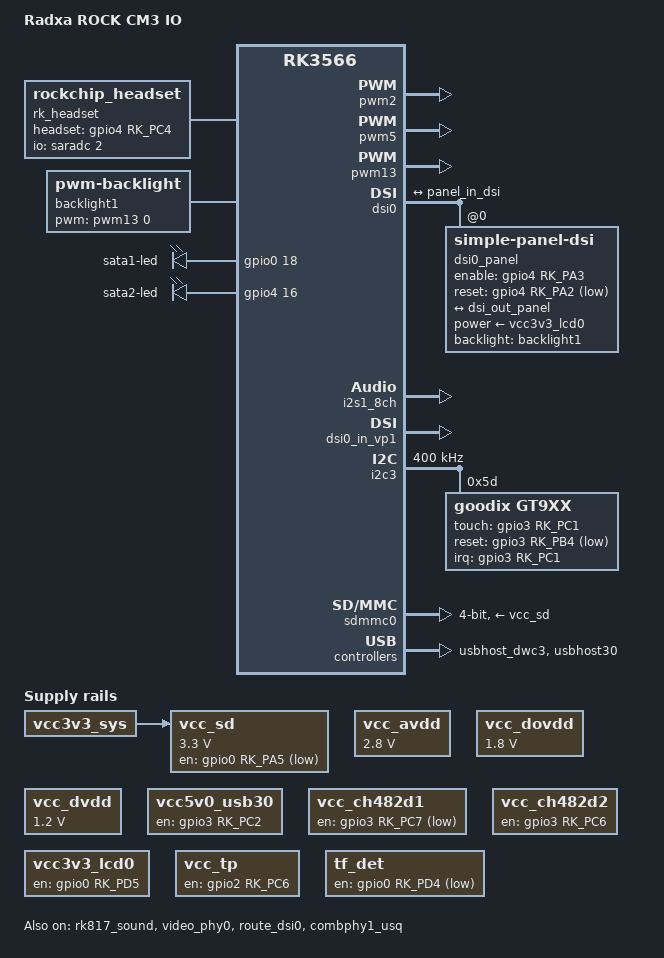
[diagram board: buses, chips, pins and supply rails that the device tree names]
// SPDX-License-Identifier: (GPL-2.0+ OR MIT)
/*
 * Copyright (c) 2020 Rockchip Electronics Co., Ltd.
 * Copyright (c) 2021 Radxa Limited.
 *
 */

/dts-v1/;

#include "rk3566-rock-compute-module-3.dtsi"
#include <dt-bindings/display/drm_mipi_dsi.h>
#include <dt-bindings/display/media-bus-format.h>

/ {
	model = "Radxa ROCK CM3 IO";
	compatible = "radxa,rock-cm3-io", "rockchip,rk3566";

	rk_headset: rk-headset {
		compatible = "rockchip_headset";
		headset_gpio = <&gpio4 RK_PC4 GPIO_ACTIVE_HIGH>;
		pinctrl-names = "default";
		pinctrl-0 = <&hp_det>;
		io-channels = <&saradc 2>;    //HP_HOOK引脚
	};

	vcc_avdd: vcc-avdd {
		compatible = "regulator-fixed";
		regulator-name = "vcc_sys";
		regulator-always-on;
		regulator-boot-on;
		regulator-min-microvolt = <2800000>;
		regulator-max-microvolt = <2800000>;
	};

	vcc_dovdd: vcc-dovdd {
		compatible = "regulator-fixed";
		regulator-name = "vcc_sys";
		regulator-always-on;
		regulator-boot-on;
		regulator-min-microvolt = <1800000>;
		regulator-max-microvolt = <1800000>;
	};

	vcc_dvdd: vcc-dvdd {
		compatible = "regulator-fixed";
		regulator-name = "vcc_sys";
		regulator-always-on;
		regulator-boot-on;
		regulator-min-microvolt = <1200000>;
		regulator-max-microvolt = <1200000>;
	};

	vcc5v0_usb30: vcc5v0-usb30-regulator {
		compatible = "regulator-fixed";
		enable-active-high;
		gpio = <&gpio3 RK_PC2 GPIO_ACTIVE_HIGH>;
		pinctrl-names = "default";
		pinctrl-0 = <&vcc5v0_usb30_en>;
		regulator-name = "vcc5v0_usb30";
		regulator-always-on;
		regulator-boot-on;
	};

	vcc_ch482d1: vcc-ch482d1-regulator {
		compatible = "regulator-fixed";
		enable-active-low;
		gpio = <&gpio3 RK_PC7 GPIO_ACTIVE_LOW>;
		pinctrl-names = "default";
		pinctrl-0 = <&ch482d_en1>;
		regulator-name = "vcc_ch482d1";
		regulator-always-on;
		regulator-boot-on;
	};

	vcc_ch482d2: vcc-ch482d2-regulator {
		compatible = "regulator-fixed";
		enable-active-high;
		gpio = <&gpio3 RK_PC6 GPIO_ACTIVE_HIGH>;
		pinctrl-names = "default";
		pinctrl-0 = <&ch482d_en2>;
		regulator-name = "vcc_ch482d2";
		regulator-always-on;
		regulator-boot-on;
	};

	vcc3v3_lcd0: vcc3v3-lcd0 {
		compatible = "regulator-fixed";
		regulator-name = "vcc3v3_lcd0";
		gpio = <&gpio0 RK_PD5 GPIO_ACTIVE_HIGH>;
		enable-active-high;
		regulator-boot-on;
		regulator-state-mem {
			regulator-off-in-suspend;
		};
	};

	vcc_tp: vcc-tp-regulator {
		compatible = "regulator-fixed";
		enable-active-high;
		gpio = <&gpio2 RK_PC6 GPIO_ACTIVE_HIGH>;
		pinctrl-names = "default";
		pinctrl-0 = <&vcc_tp_en>;
		regulator-name = "vcc_tp";
		regulator-always-on;
		regulator-boot-on;
	};
	backlight1: backlight1 {
		status = "okay";
		compatible = "pwm-backlight";
		pwms = <&pwm13 0 25000 0>;
		brightness-levels = <
			  0  20  20  21  21  22  22  23
			 23  24  24  25  25  26  26  27
			 27  28  28  29  29  30  30  31
			 31  32  32  33  33  34  34  35
			 35  36  36  37  37  38  38  39
			 40  41  42  43  44  45  46  47
			 48  49  50  51  52  53  54  55
			 56  57  58  59  60  61  62  63
			 64  65  66  67  68  69  70  71
			 72  73  74  75  76  77  78  79
			 80  81  82  83  84  85  86  87
			 88  89  90  91  92  93  94  95
			 96  97  98  99 100 101 102 103
			104 105 106 107 108 109 110 111
			112 113 114 115 116 117 118 119
			120 121 122 123 124 125 126 127
			128 129 130 131 132 133 134 135
			136 137 138 139 140 141 142 143
			144 145 146 147 148 149 150 151
			152 153 154 155 156 157 158 159
			160 161 162 163 164 165 166 167
			168 169 170 171 172 173 174 175
			176 177 178 179 180 181 182 183
			184 185 186 187 188 189 190 191
			192 193 194 195 196 197 198 199
			200 201 202 203 204 205 206 207
			208 209 210 211 212 213 214 215
			216 217 218 219 220 221 222 223
			224 225 226 227 228 229 230 231
			232 233 234 235 236 237 238 239
			240 241 242 243 244 245 246 247
			248 249 250 251 252 253 254 255
		>;
		default-brightness-level = <200>;	//开机时默认背光亮度
	};

	vcc_sd: sdmmc-regulator {
		compatible = "regulator-fixed";
		gpio = <&gpio0 RK_PA5 GPIO_ACTIVE_LOW>;
		pinctrl-names = "default";
		pinctrl-0 = <&sdmmc_pwren>;
		regulator-name = "vcc_sd";
		regulator-min-microvolt = <3300000>;
		regulator-max-microvolt = <3300000>;
		startup-delay-us = <100000>;
		vin-supply = <&vcc3v3_sys>;
	};

	tf_det: tf-det-regulator {
		compatible = "regulator-fixed";
		enable-active-low;
		gpio = <&gpio0 RK_PD4 GPIO_ACTIVE_LOW>;
		pinctrl-names = "default";
		pinctrl-0 = <&tf_det_en>;
		regulator-name = "tf_det";
		regulator-always-on;
		regulator-boot-on;
	};

	gpio_leds: gpio-leds {
		compatible = "gpio-leds";
		status = "okay";


		sata1-led {
			gpios = <&gpio0 18 GPIO_ACTIVE_HIGH>;
			linux,default-trigger = "nand-disk";
			default-state = "on";
			pinctrl-0 = <&sata1_led>;
		};

		sata2-led {
			gpios = <&gpio4 16 GPIO_ACTIVE_HIGH>;
			linux,default-trigger = "nand-disk";
			default-state = "on";
			pinctrl-0 = <&sata2_led>;
		};
	};
};

&pwm2 {
	status = "okay";	
};

&pwm5 {
	status = "okay";	
};

&pwm13 {
	pinctrl-0 = <&pwm13m1_pins>;
	status = "okay";
};

&dsi0 {
	status = "okay";

	dsi0_panel: panel@0 {
		status = "okay";
		compatible = "simple-panel-dsi";
		reg = <0>;
		backlight = <&backlight1>;

		power-supply = <&vcc3v3_lcd0>;
		enable-gpios = <&gpio4 RK_PA3 GPIO_ACTIVE_HIGH>;
		reset-gpios = <&gpio4 RK_PA2 GPIO_ACTIVE_LOW>;
		pinctrl-names = "default";
		pinctrl-0 = <&lcd0_enable_gpio>, <&lcd0_rst_gpio>;

		prepare-delay-ms = <120>;
		reset-delay-ms = <20>;
		init-delay-ms = <120>;
		stbyb-delay-ms = <120>;
		enable-delay-ms = <100>;
		disable-delay-ms = <120>;
		unprepare-delay-ms = <120>;

		width-mm = <135>;
		height-mm = <216>;

		dsi,flags = <(MIPI_DSI_MODE_VIDEO | MIPI_DSI_MODE_VIDEO_BURST |
			MIPI_DSI_MODE_LPM | MIPI_DSI_MODE_EOT_PACKET)>;
		dsi,format = <MIPI_DSI_FMT_RGB888>;
		dsi,lanes  = <4>;

		panel-init-sequence = [
			15 00 02 E0 00
			15 00 02 E1 93
			15 00 02 E2 65
			15 00 02 E3 F8
			15 00 02 80 03
			15 00 02 E0 01
			15 00 02 00 00
			15 00 02 01 2F  
			15 00 02 03 00
			15 00 02 04 A0
			15 00 02 17 00
			15 00 02 18 AF
			15 00 02 19 01
			15 00 02 1A 00
			15 00 02 1B AF
			15 00 02 1C 01
			15 00 02 1F 3E
			15 00 02 20 28
			15 00 02 21 28
			15 00 02 22 7E
			15 00 02 24 FE
			15 00 02 35 26
			15 00 02 37 09
			15 00 02 38 04
			15 00 02 39 00
			15 00 02 3A 01
			15 00 02 3C 7C
			15 00 02 3D FF
			15 00 02 3E FF
			15 00 02 3F 7F
			15 00 02 40 06
			15 00 02 41 A0
			15 00 02 42 81
			15 00 02 43 08
			15 00 02 44 0B
			15 00 02 45 28
			15 00 02 55 0F  
			15 00 02 57 69
			15 00 02 59 0A
			15 00 02 5A 28
			15 00 02 5B 14
			15 00 02 5D 7C              
			15 00 02 5E 65      
			15 00 02 5F 55    
			15 00 02 60 47    
			15 00 02 61 43    
			15 00 02 62 32    
			15 00 02 63 34    
			15 00 02 64 1C    
			15 00 02 65 33    
			15 00 02 66 31    
			15 00 02 67 30    
			15 00 02 68 4E    
			15 00 02 69 3C    
			15 00 02 6A 44    
			15 00 02 6B 35    
			15 00 02 6C 31    
			15 00 02 6D 23    
			15 00 02 6E 11    
			15 00 02 6F 00    
			15 00 02 70 7C    
			15 00 02 71 65    
			15 00 02 72 55    
			15 00 02 73 47    
			15 00 02 74 43    
			15 00 02 75 32    
			15 00 02 76 34    
			15 00 02 77 1C    
			15 00 02 78 33    
			15 00 02 79 31    
			15 00 02 7A 30    
			15 00 02 7B 4E    
			15 00 02 7C 3C    
			15 00 02 7D 44    
			15 00 02 7E 35    
			15 00 02 7F 31    
			15 00 02 80 23    
			15 00 02 81 11    
			15 00 02 82 00   
			15 00 02 E0 02
			15 00 02 00 1E
			15 00 02 01 1E
			15 00 02 02 41
			15 00 02 03 41
			15 00 02 04 43
			15 00 02 05 43
			15 00 02 06 1F
			15 00 02 07 1F
			15 00 02 08 1F
			15 00 02 09 1F
			15 00 02 0A 1E
			15 00 02 0B 1E
			15 00 02 0C 1F
			15 00 02 0D 47
			15 00 02 0E 47
			15 00 02 0F 45
			15 00 02 10 45
			15 00 02 11 4B
			15 00 02 12 4B
			15 00 02 13 49
			15 00 02 14 49
			15 00 02 15 1F
			15 00 02 16 1E
			15 00 02 17 1E
			15 00 02 18 40
			15 00 02 19 40
			15 00 02 1A 42
			15 00 02 1B 42
			15 00 02 1C 1F
			15 00 02 1D 1F
			15 00 02 1E 1F
			15 00 02 1F 1F
			15 00 02 20 1E
			15 00 02 21 1E
			15 00 02 22 1F
			15 00 02 23 46
			15 00 02 24 46
			15 00 02 25 44
			15 00 02 26 44
			15 00 02 27 4A
			15 00 02 28 4A
			15 00 02 29 48
			15 00 02 2A 48
			15 00 02 2B 1F
			15 00 02 2C 1F
			15 00 02 2D 1F
			15 00 02 2E 00
			15 00 02 2F 00
			15 00 02 30 00
			15 00 02 31 00
			15 00 02 32 1E
			15 00 02 33 1E
			15 00 02 34 35
			15 00 02 35 1F
			15 00 02 36 15
			15 00 02 37 15
			15 00 02 38 1F
			15 00 02 39 08
			15 00 02 3A 08
			15 00 02 3B 0A
			15 00 02 3C 0A
			15 00 02 3D 04
			15 00 02 3E 04
			15 00 02 3F 06
			15 00 02 40 06
			15 00 02 41 1F
			15 00 02 42 1F
			15 00 02 43 1F
			15 00 02 44 01
			15 00 02 45 01
			15 00 02 46 01
			15 00 02 47 01
			15 00 02 48 1E
			15 00 02 49 1E
			15 00 02 4A 35
			15 00 02 4B 1F
			15 00 02 4C 15
			15 00 02 4D 15
			15 00 02 4E 1F
			15 00 02 4F 09
			15 00 02 50 09
			15 00 02 51 0B
			15 00 02 52 0B
			15 00 02 53 05
			15 00 02 54 05
			15 00 02 55 07
			15 00 02 56 07
			15 00 02 57 1F
			15 00 02 58 40
			15 00 02 5B 30
			15 00 02 5C 03
			15 00 02 5D 30
			15 00 02 5E 01
			15 00 02 5F 02
			15 00 02 63 14
			15 00 02 64 6A
			15 00 02 67 73
			15 00 02 68 05
			15 00 02 69 14
			15 00 02 6A 6A
			15 00 02 6B 0C
			15 00 02 6C 00
			15 00 02 6D 00
			15 00 02 6E 00
			15 00 02 6F 88
			15 00 02 E0 04
			15 00 02 02 23
			15 00 02 09 11
			15 00 02 0E 48
			15 00 02 36 49
			15 00 02 2B 08
			15 00 02 2E 03
			15 00 02 E0 00
			15 00 02 E6 02
			15 00 02 E7 0C
			15 78 02 11 00  	
			15 05 02 29 00 
			15 00 02 35 00
		];

		panel-exit-sequence = [
     		
		];
     

		disp_timings0: display-timings {
			native-mode = <&dsi0_timing0>;

			dsi0_timing0: timing0 {
				clock-frequency = <72000000>;
				hactive = <800>;
				vactive = <1280>;

				hsync-len = <18>;
				hback-porch = <18>;
				hfront-porch = <18>;

				vsync-len = <4>;
				vback-porch = <8>;
				vfront-porch = <24>;

				hsync-active = <0>;
				vsync-active = <0>;
				de-active = <0>;
				pixelclk-active = <0>;
			};
		};

		ports {
			#address-cells = <1>;
			#size-cells = <0>;

			port@0 {
				reg = <0>;
				panel_in_dsi: endpoint {
					remote-endpoint = <&dsi_out_panel>;
				};
			};
		};
	};

	ports {
		#address-cells = <1>;
		#size-cells = <0>;

		port@1 {
			reg = <1>;
			dsi_out_panel: endpoint {
				remote-endpoint = <&panel_in_dsi>;
			};
		};
	};

};

&rk817_sound {
	status = "okay";
};

&i2s1_8ch {
	status = "okay";
};
/*
 * mipi_dphy0 needs to be enabled
 * when dsi0 is enabled
 */
//&mipi_dphy0 {
&video_phy0 {
	status = "okay";
};

&dsi0_in_vp0 {
	status = "disabled";
};

&dsi0_in_vp1 {
	status = "okay";
};

&route_dsi0 {
	status = "okay";
	connect = <&vp1_out_dsi0>;
};

&pmu_io_domains {
	/delete-property/ vccio2-supply;
};

&i2c3 {
	status = "okay";
	pinctrl-names = "default";
	pinctrl-0 = <&i2c3m0_xfer>;
	clock-frequency = <400000>;
	i2c-scl-rising-time-ns = <138>;
	i2c-scl-falling-time-ns = <4>;
/*
	gt9271@5d {
		compatible = "goodix,gt9271";
		reg = <0x5d>;
		//pwr-supply = <&vcc_tp>;
		pinctrl-names = "default";
		pinctrl-0 = <&tp_gpio>;

		//touchscreen-size-x = <800>;
		//touchscreen-size-y = <1280>;

		interrupt-parent = <&gpio3>;
		interrupts = <RK_PC1 IRQ_TYPE_EDGE_FALLING>;

		//irq-gpios = <&gpio3 RK_PC1 IRQ_TYPE_LEVEL_LOW>;
		irq-gpios = <&gpio3 RK_PC1 GPIO_ACTIVE_HIGH>;
		reset-gpios = <&gpio3 RK_PB4 GPIO_ACTIVE_LOW>;
		touchscreen-inverted-x;
		status = "okay";
	};
*/
	gt9xx@5d {
		compatible = "goodix,gt9xx";
		reg = <0x5d>;
		tp = <&vcc_tp>;
		pinctrl-names = "default";
		pinctrl-0 = <&tp_gpio>;

		max-x = <800>;
		max-y = <1280>;

		interrupt-parent = <&gpio3>;
		interrupts = <RK_PC1 IRQ_TYPE_EDGE_FALLING>;

		//irq-gpios = <&gpio3 RK_PC1 IRQ_TYPE_LEVEL_LOW>;
		touch-gpio = <&gpio3 RK_PC1 GPIO_ACTIVE_HIGH>;
		reset-gpio = <&gpio3 RK_PB4 GPIO_ACTIVE_LOW>;
		tp-size = <9271>;
		status = "okay";
	};
};

&sdmmc0 {
	max-frequency = <150000000>;
	supports-sd;
	bus-width = <4>;
	cap-mmc-highspeed;
	cap-sd-highspeed;
	disable-wp;

	vmmc-supply = <&vcc_sd>;
	vqmmc-supply = <&vccio_sd>;
	pinctrl-names = "default";
	pinctrl-0 = <&sdmmc0_bus4 &sdmmc0_clk &sdmmc0_cmd &sdmmc0_det>;
	status = "okay";
};

&usbhost_dwc3 {
	// usb2.0 only 打下以下
	// phys = <&u2phy0_host>; /* 配置 phys 属性只引用 usb 2.0 phy 节点 */
	// phy-names = "usb2-phy";
	// maximum-speed = "high-speed"; /* 配置 dwc3 控制器最高支持 high speed */
	
	status = "okay";
};

&usbhost30 {
	status = "okay";
};

&combphy1_usq {
	// usb2.0 only 打下以下
	//rockchip,dis-u3otg1-port; /* 配置 dwc3_1 控制器最高支持 high speed */

	status = "okay";
};
&pinctrl {
	ch482d {
		//usb3.0 --> sata1
		ch482d_en1: ch482d-en1 {
			rockchip,pins = <3 RK_PC7 RK_FUNC_GPIO &pcfg_output_low>;
		};

		//pcie2.0 --> sata2
		ch482d_en2: ch482d-en2 {
			rockchip,pins = <3 RK_PC6 RK_FUNC_GPIO &pcfg_output_high>;
		};
	};
	usb {
		vcc5v0_usb30_en: vcc5v0-host-en {
			rockchip,pins = <3 RK_PC2 RK_FUNC_GPIO &pcfg_pull_none>;
		};
	};

	headphone {
		hp_det: hp-det {
			rockchip,pins = <4 RK_PC4 RK_FUNC_GPIO &pcfg_pull_up>;
		};
	};

	leds {
		sata1_led: sata1-led{
			rockchip,pins = <0 RK_PC2 RK_FUNC_GPIO &pcfg_pull_none>;
		};

		sata2_led: sata2-led{
			rockchip,pins = <4 RK_PC0 RK_FUNC_GPIO &pcfg_pull_none>;
		};
	};

	sdcard {
		sdmmc_pwren: sdmmc-pwren {
			rockchip,pins = <0 RK_PA5 RK_FUNC_GPIO &pcfg_pull_none>;
		};

		tf_det_en: tf-det-en {
			rockchip,pins = <0 RK_PD4 RK_FUNC_GPIO &pcfg_output_low>;
		};
	};

	lcd0 {
		lcd0_rst_gpio: lcd0-rst-gpio {
			rockchip,pins = <4 RK_PA2 RK_FUNC_GPIO &pcfg_pull_none>;
		};

		lcd0_enable_gpio: lcd-enable-gpio {
			rockchip,pins = <4 RK_PA3 RK_FUNC_GPIO &pcfg_pull_none>;
		};
	};


	tp {
		tp_gpio: tp-gpio {
			rockchip,pins =
				<3 RK_PC1 RK_FUNC_GPIO &pcfg_pull_up>,
				<3 RK_PB4 RK_FUNC_GPIO &pcfg_pull_none>;
		};
	};

	vcc-tp {
		vcc_tp_en: vcc-tp-en {
			rockchip,pins = <2 RK_PC6 RK_FUNC_GPIO &pcfg_pull_up>;
		};
	};
};
